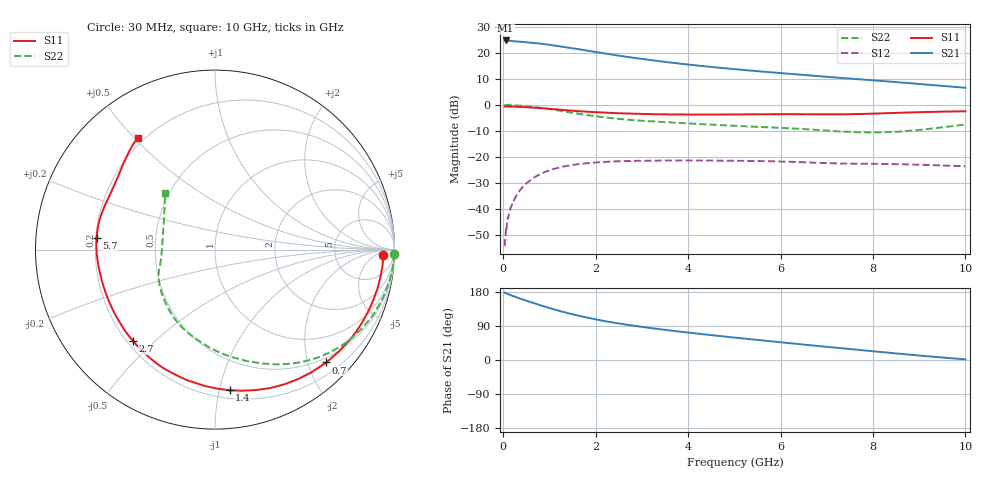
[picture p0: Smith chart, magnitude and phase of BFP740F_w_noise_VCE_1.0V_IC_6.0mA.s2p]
! Infineon Technologies  Discrete & RF Semiconductors
! BFP740F
! VCE =  1.0 V,  IC =  6.0 mA
! Common Emitter S-Parameters:  Oct 2012
# GHz  S  MA  R  50
!  f  S11  S21  S12  S22
! GHz  MAG  ANG  MAG  ANG  MAG  ANG  MAG  ANG
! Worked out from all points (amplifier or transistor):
!   99 points, 30 MHz to 10 GHz, reference 50 ohm
!   highest |S21| = 24.9 dB at 50 MHz (marker M1)
!   |S21| within 3 dB of that: start of sweep to 1.487 GHz
!   unconditionally stable (mu >= 1): 7.384 GHz to end of sweep
!   at 350 MHz: K = 0.05, MSG = 28.8 dB, |S12| = -33.1 dB
!   at 3.5 GHz: K = 0.37, MSG = 19.0 dB, |S12| = -21.4 dB
!   at 10 GHz: K = 1.29, MAG = 11.9 dB, |S12| = -23.6 dB
!   lowest NFmin = 0.39 dB at 450 MHz
!   S11 on the Smith chart (normalised r, x): 30 MHz: 24, -13; 700 MHz: 0.41, -2.33; 1.4 GHz: 0.26, -1.07; 2.7 GHz: 0.22, -0.43; 5.7 GHz: 0.20, +0.05; 10 GHz: 0.18, +0.51
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0.03  0.9386 -2.0  17.34 177.8  0.0019 90.4  0.9968 -1.4
0.05  0.9372 -3.4  17.52 177.0  0.0028 103.0  0.9972 -2.5
0.06  0.9379 -4.1  17.48 176.5  0.0044 87.5  0.9981 -3.0
0.15  0.9338 -10.3  17.22 171.8  0.0098 83.7  0.9916 -7.5
0.35  0.9185 -23.4  16.59 162.8  0.0221 76.3  0.9707 -17.1
0.6  0.8941 -39.3  15.85 152.5  0.0362 66.7  0.9273 -28.6
0.7  0.8831 -45.4  15.5 148.6  0.0417 63.3  0.9073 -33.1
0.8  0.8698 -51.7  15.26 144.6  0.0465 59.6  0.884 -37.5
1  0.8432 -63.2  14.43 137.1  0.0551 52.7  0.8333 -46.0
1.2  0.8143 -74.0  13.58 130.1  0.062 46.6  0.7801 -53.9
1.4  0.788 -84.1  12.76 123.6  0.0675 41.0  0.7297 -61.2
1.7  0.7516 -98.1  11.62 114.9  0.0735 34.0  0.661 -71.3
2.2  0.7126 -117.1  9.835 102.6  0.08 24.1  0.5771 -86.8
2.7  0.6839 -131.9  8.407 92.7  0.083 17.0  0.5203 -98.9
3  0.6727 -139.5  7.723 87.4  0.0841 13.4  0.4964 -105.3
3.4  0.6619 -148.3  6.947 81.1  0.0848 9.4  0.4726 -112.5
4.3  0.6536 -164.9  5.645 68.3  0.085 1.8  0.427 -125.8
5.1  0.659 -177.3  4.819 57.9  0.0839 -3.7  0.3932 -136.9
5.7  0.6627 174.4  4.33 50.5  0.0824 -7.4  0.3722 -145.1
6.7  0.6612 160.0  3.67 38.3  0.0775 -12.6  0.3344 -159.1
8.5  0.7043 135.9  2.76 17.4  0.0724 -16.6  0.3035 162.7
10  0.7568 124.5  2.145 1.7  0.0658 -20.1  0.4211 131.4
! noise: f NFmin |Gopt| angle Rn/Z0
0.45  0.39  0.32  6  0.21
0.9  0.44  0.32  12  0.18
1.5  0.51  0.32  24  0.14
1.9  0.55  0.31  32  0.13
2.4  0.62  0.3  41  0.12
3.5  0.75  0.27  66  0.11
5.5  0.99  0.17  113  0.19
10  1.49  0.4  -125  0.07
